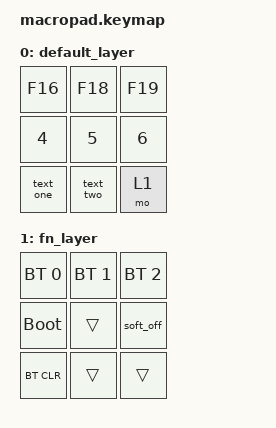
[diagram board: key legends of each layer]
#include <behaviors.dtsi>
#include <dt-bindings/zmk/keys.h>
#include <dt-bindings/zmk/bt.h>

// Fn + middle-right: hold 2 s to power off. Any key turns it back on.
&soft_off {
    hold-time-ms = <2000>;
};

/ {
    macros {
        text_one: text_one {
            compatible = "zmk,behavior-macro";
            #binding-cells = <0>;
            wait-ms = <30>;
            tap-ms = <30>;
            bindings = <&macro_tap
                &kp LS(T) &kp H &kp E &kp LS(E) &kp G &kp A
                &kp N3 &kp N5 &kp N7 &kp N1 &kp N5 &kp N9
                &kp EXCL &kp EXCL &kp EXCL>;
        };

        text_two: text_two {
            compatible = "zmk,behavior-macro";
            #binding-cells = <0>;
            wait-ms = <30>;
            tap-ms = <30>;
            bindings = <&macro_tap
                &kp N7 &kp RBRC &kp QMARK &kp LS(S) &kp LS(Q) &kp LT
                &kp N8 &kp N8 &kp M &kp E &kp LS(J) &kp X>;
        };
    };

    keymap {
        compatible = "zmk,keymap";

        default_layer {
            bindings = <
                &kp F16 &kp F18 &kp F19
                &kp N4  &kp N5  &kp N6
                &text_one &text_two &mo 1
            >;
        };

        fn_layer {
            bindings = <
                &bt BT_SEL 0  &bt BT_SEL 1  &bt BT_SEL 2
                &bootloader   &trans        &soft_off
                &bt BT_CLR    &trans        &trans
            >;
        };
    };
};
